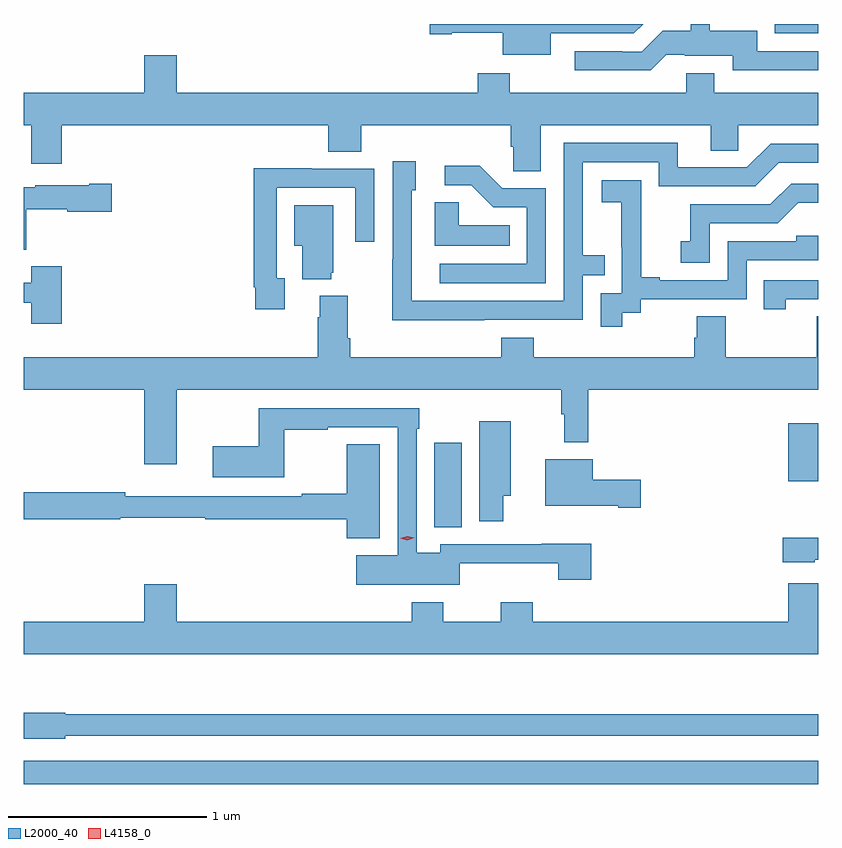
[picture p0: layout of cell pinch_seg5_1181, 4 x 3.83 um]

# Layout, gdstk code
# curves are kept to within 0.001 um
import gdstk
lib = gdstk.Library(unit=1e-6, precision=1e-09)
def R(c, l, rs):  # rectangles x0, y0, x1, y1
    for r in rs: c.add(gdstk.rectangle(r[:2], r[2:], *l))
def P(c, l, *ps):  # polygons
    for p in ps: c.add(gdstk.Polygon(p, *l))
L2000_40 = (2000, 40)
L4158_0 = (4158, 0)

pinch_seg5_1181 = lib.new_cell('pinch_seg5_1181')
R(pinch_seg5_1181, L2000_40, [(512.054,904.06,516.054,904.176), (514.121,905.353,514.258,905.779), (515.903,905.585,516.054,905.875), (515.835,907.839,516.054,907.886)])
P(pinch_seg5_1181, L2000_40, [(515.289,907.731),(515.383,907.731),(515.383,907.727),(515.624,907.727),(515.624,907.653),(516.054,907.653),(516.054,907.749),(515.746,907.749),(515.746,907.852),(515.508,907.852),(515.508,907.886),(515.412,907.886),(515.412,907.851),(515.271,907.851),(515.166,907.746),(515.066,907.746),(515.066,907.749),(514.827,907.749),(514.827,907.652),(515.21,907.652)],
  [(514.708,907.839),(515.125,907.839),(515.172,907.886),(514.097,907.886),(514.097,907.834),(514.21,907.834),(514.21,907.841),(514.466,907.841),(514.466,907.73),(514.708,907.73)],
  [(514.657,907.376),(515.513,907.376),(515.513,907.249),(515.652,907.249),(515.652,907.376),(516.054,907.376),(516.054,907.54),(515.53,907.54),(515.53,907.639),(515.39,907.639),(515.39,907.54),(514.5,907.54),(514.5,907.639),(514.34,907.639),(514.34,907.54),(512.824,907.54),(512.824,907.729),(512.66,907.729),(512.66,907.54),(512.054,907.54),(512.054,907.376),(512.093,907.376),(512.093,907.182),(512.246,907.182),(512.246,907.376),(513.587,907.376),(513.587,907.243),(513.752,907.243),(513.752,907.376),(514.505,907.376),(514.505,907.267),(514.518,907.267),(514.518,907.144),(514.657,907.144)],
  [(514.373,906.396),(514.869,906.396),(514.869,906.621),(514.979,906.621),(514.979,906.722),(514.869,906.722),(514.869,907.191),(515.25,907.191),(515.25,907.068),(515.736,907.068),(515.856,907.188),(516.054,907.188),(516.054,907.284),(515.814,907.284),(515.694,907.164),(515.347,907.164),(515.347,907.287),(514.773,907.287),(514.773,906.492),(514.008,906.492),(514.008,907.05),(514.027,907.05),(514.027,907.195),(513.912,907.195),(513.912,906.701),(513.91,906.701),(513.91,906.395)],
  [(514.683,907.059),(514.464,907.059),(514.351,907.172),(514.173,907.172),(514.173,907.074),(514.307,907.074),(514.418,906.963),(514.587,906.963),(514.587,906.678),(514.149,906.678),(514.149,906.582),(514.683,906.582)],
  [(513.367,906.606),(513.327,906.606),(513.327,907.062),(513.723,907.062),(513.723,906.789),(513.819,906.789),(513.819,907.158),(513.503,907.158),(513.503,907.16),(513.211,907.16),(513.211,906.562),(513.219,906.562),(513.219,906.45),(513.367,906.45)],
  [(515.068,906.433),(515.16,906.433),(515.16,906.501),(515.694,906.501),(515.694,906.696),(516.054,906.696),(516.054,906.819),(515.943,906.819),(515.943,906.792),(515.598,906.792),(515.598,906.597),(515.257,906.597),(515.257,906.61),(515.162,906.61),(515.162,906.893),(515.163,906.893),(515.163,907.099),(514.965,907.099),(514.965,906.989),(515.063,906.989),(515.063,906.761),(515.064,906.761),(515.064,906.531),(514.959,906.531),(514.959,906.363),(515.068,906.363)],
  [(512.066,906.953),(512.274,906.953),(512.274,906.941),(512.496,906.941),(512.496,907.083),(512.384,907.083),(512.384,907.075),(512.112,907.075),(512.112,907.063),(512.054,907.063),(512.054,906.749),(512.066,906.749)],
  [(515.508,906.882),(515.85,906.882),(515.954,906.986),(516.054,906.986),(516.054,907.083),(515.918,907.083),(515.813,906.978),(515.41,906.978),(515.41,906.793),(515.361,906.793),(515.361,906.684),(515.508,906.684)],
  [(514.502,906.874),(514.245,906.874),(514.245,906.989),(514.124,906.989),(514.124,906.77),(514.502,906.77)],
  [(513.602,906.633),(513.613,906.633),(513.613,906.973),(513.416,906.973),(513.416,906.77),(513.455,906.77),(513.455,906.602),(513.602,906.602)],
  [(512.246,906.667),(512.091,906.667),(512.091,906.583),(512.054,906.583),(512.054,906.483),(512.093,906.483),(512.093,906.378),(512.246,906.378)],
  [(515.89,906.501),(516.054,906.501),(516.054,906.597),(515.779,906.597),(515.779,906.45),(515.89,906.45)],
  [(514.759,905.921),(514.774,905.921),(514.774,905.781),(514.895,905.781),(514.895,906.044),(516.054,906.044),(516.054,906.416),(516.046,906.416),(516.046,906.208),(515.589,906.208),(515.589,906.416),(515.441,906.416),(515.441,906.306),(515.429,906.306),(515.429,906.208),(514.621,906.208),(514.621,906.307),(514.457,906.307),(514.457,906.208),(513.698,906.208),(513.698,906.304),(513.685,906.304),(513.685,906.517),(513.545,906.517),(513.545,906.41),(513.533,906.41),(513.533,906.208),(512.054,906.208),(512.054,906.044),(512.66,906.044),(512.66,905.67),(512.824,905.67),(512.824,906.044),(514.759,906.044)],
  [(514.248,905.171),(514.745,905.171),(514.745,905.088),(514.91,905.088),(514.91,905.27),(514.661,905.27),(514.661,905.268),(514.152,905.268),(514.152,905.224),(514.032,905.224),(514.032,905.849),(514.045,905.849),(514.045,905.952),(513.237,905.952),(513.237,905.761),(513.006,905.761),(513.006,905.603),(513.366,905.603),(513.366,905.844),(513.584,905.844),(513.584,905.856),(513.936,905.856),(513.936,905.212),(513.729,905.212),(513.729,905.063),(514.248,905.063)],
  [(514.468,905.51),(514.507,905.51),(514.507,905.887),(514.346,905.887),(514.346,905.382),(514.468,905.382)],
  [(513.847,905.771),(513.68,905.771),(513.68,905.521),(513.454,905.521),(513.454,905.508),(512.82,905.508),(512.82,905.509),(512.564,905.509),(512.564,905.528),(512.054,905.528),(512.054,905.392),(512.54,905.392),(512.54,905.4),(512.969,905.4),(512.969,905.392),(513.68,905.392),(513.68,905.297),(513.847,905.297)],
  [(515.161,905.592),(514.918,905.592),(514.918,905.695),(514.679,905.695),(514.679,905.462),(515.048,905.462),(515.048,905.45),(515.161,905.45)],
  [(516.036,905.189),(516.054,905.189),(516.054,905.299),(515.874,905.299),(515.874,905.177),(516.036,905.177)],
  [(516.054,905.071),(515.903,905.071),(515.903,904.876),(514.616,904.876),(514.616,904.975),(514.456,904.975),(514.456,904.876),(514.167,904.876),(514.167,904.975),(514.007,904.975),(514.007,904.876),(512.824,904.876),(512.824,905.065),(512.66,905.065),(512.66,904.876),(512.054,904.876),(512.054,904.712),(516.054,904.712)],
  [(512.262,904.302),(516.054,904.302),(516.054,904.411),(512.262,904.411),(512.262,904.419),(512.054,904.419),(512.054,904.289),(512.262,904.289)])
P(pinch_seg5_1181, L4158_0, [(513.985,905.288),(513.95,905.297),(513.95,905.297),(513.95,905.297),(513.984,905.308),(514.019,905.3),(514.019,905.299),(514.019,905.299)])

lib.write_gds('pinch_seg5_1181.gds')
